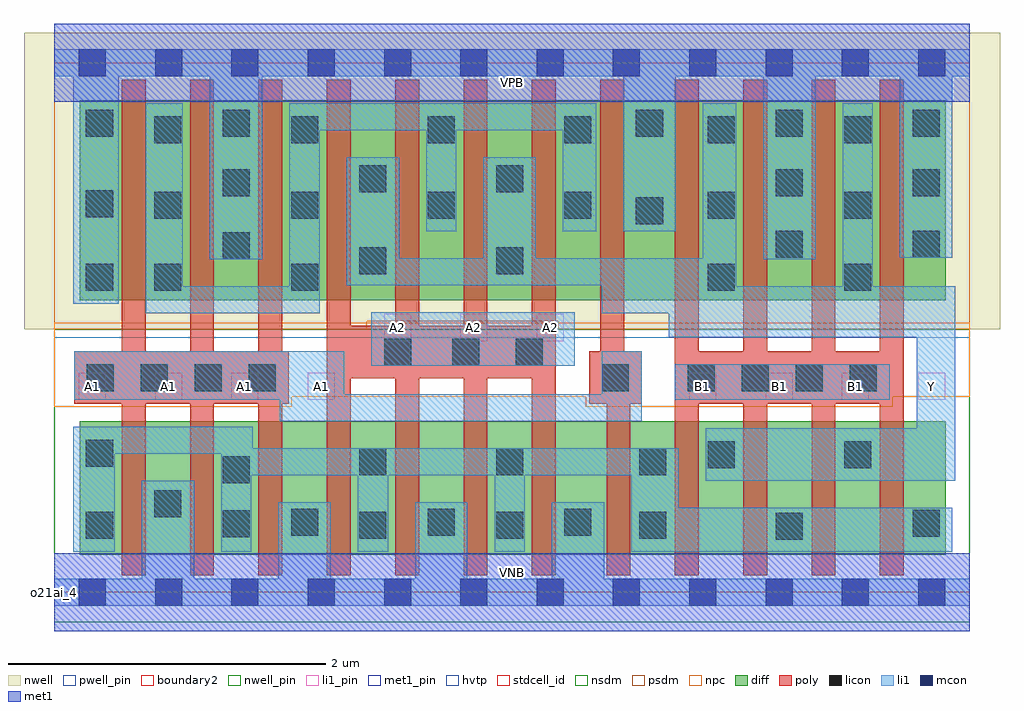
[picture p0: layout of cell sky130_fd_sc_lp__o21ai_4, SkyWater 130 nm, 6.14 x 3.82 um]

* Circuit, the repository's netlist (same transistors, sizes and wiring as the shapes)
* Copyright 2020 The SkyWater PDK Authors
*
* Licensed under the Apache License, Version 2.0 (the "License");
* you may not use this file except in compliance with the License.
* You may obtain a copy of the License at
*
*     https://www.apache.org/licenses/LICENSE-2.0
*
* Unless required by applicable law or agreed to in writing, software
* distributed under the License is distributed on an "AS IS" BASIS,
* WITHOUT WARRANTIES OR CONDITIONS OF ANY KIND, either express or implied.
* See the License for the specific language governing permissions and
* limitations under the License.
*
* SPDX-License-Identifier: Apache-2.0

.SUBCKT sky130_fd_sc_lp__o21ai_4 A1 A2 B1 VGND VNB VPB VPWR Y
*.PININFO A1:I A2:I B1:I VGND:I VNB:I VPB:I VPWR:I Y:O
MMPA0 VPWR A1 sndA1 VPB sky130_fd_pr__pfet_01v8_hvt m=4 w=1.26U l=0.15U mult=1
+ sa=0.265 sb=0.265 sd=0.28 area=0.063 perim=1.14
MMPA1 sndA1 A2 Y VPB sky130_fd_pr__pfet_01v8_hvt m=4 w=1.26U l=0.15U mult=1 sa=0.265
+ sb=0.265 sd=0.28 area=0.063 perim=1.14
MMPB0 VPWR B1 Y VPB sky130_fd_pr__pfet_01v8_hvt m=4 w=1.26U l=0.15U mult=1 sa=0.265
+ sb=0.265 sd=0.28 area=0.063 perim=1.14
MMNA0 pndA A1 VGND VNB sky130_fd_pr__nfet_01v8 m=4 w=0.84U l=0.15U mult=1 sa=0.265
+ sb=0.265 sd=0.28 area=0.063 perim=1.14
MMNA1 pndA A2 VGND VNB sky130_fd_pr__nfet_01v8 m=4 w=0.84U l=0.15U mult=1 sa=0.265
+ sb=0.265 sd=0.28 area=0.063 perim=1.14
MMNB0 Y B1 pndA VNB sky130_fd_pr__nfet_01v8 m=4 w=0.84U l=0.15U mult=1 sa=0.265
+ sb=0.265 sd=0.28 area=0.063 perim=1.14
.ENDS sky130_fd_sc_lp__o21ai_4

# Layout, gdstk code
import gdstk
lib = gdstk.Library(unit=1e-6, precision=1e-09)
def R(c, l, rs):  # rectangles x0, y0, x1, y1
    for r in rs: c.add(gdstk.rectangle(r[:2], r[2:], *l))
def A(c, l, x, y, w, h, nx, ny, dx, dy):  # array of equal rectangles
    R(c, l, [(x+i*dx, y+j*dy, x+i*dx+w, y+j*dy+h) for i in range(nx) for j in range(ny)])
def P(c, l, *ps):  # polygons
    for p in ps: c.add(gdstk.Polygon(p, *l))
nwell_pin = (64, 16)
nwell = (64, 20)
diff = (65, 20)
poly = (66, 20)
licon = (66, 44)
li1_pin = (67, 16)
li1 = (67, 20)
mcon = (67, 44)
met1_pin = (68, 16)
met1 = (68, 20)
hvtp = (78, 44)
stdcell_id = (81, 4)
nsdm = (93, 44)
psdm = (94, 20)
npc = (95, 20)
pwell_pin = (122, 16)
boundary2 = (236, 0)

sky130_fd_sc_lp__o21ai_4 = lib.new_cell('sky130_fd_sc_lp__o21ai_4')
R(sky130_fd_sc_lp__o21ai_4, nwell_pin, [(0,3.085,5.76,3.33)])
R(sky130_fd_sc_lp__o21ai_4, nwell, [(-0.19,1.655,5.95,3.52)])
R(sky130_fd_sc_lp__o21ai_4, diff, [(0.16,0.235,5.61,1.075), (0.16,1.835,5.61,3.095)])
P(sky130_fd_sc_lp__o21ai_4, poly, [(1.475,1.515),(1.435,1.515),(1.435,3.225),(1.285,3.225),(1.285,1.515),(1.005,1.515),(1.005,3.225),(0.855,3.225),(0.855,1.515),(0.575,1.515),(0.575,3.225),(0.425,3.225),(0.425,1.515),(0.125,1.515),(0.125,1.185),(0.425,1.185),(0.425,0.105),(0.575,0.105),(0.575,1.185),(0.855,1.185),(0.855,0.105),(1.005,0.105),(1.005,1.185),(1.285,1.185),(1.285,0.105),(1.435,0.105),(1.435,1.185),(1.475,1.185)],
  [(3.155,3.225),(3.005,3.225),(3.005,1.675),(2.725,1.675),(2.725,3.225),(2.575,3.225),(2.575,1.675),(2.295,1.675),(2.295,3.225),(2.145,3.225),(2.145,1.675),(1.865,1.675),(1.865,3.225),(1.715,3.225),(1.715,0.105),(1.865,0.105),(1.865,1.345),(2.145,1.345),(2.145,0.105),(2.295,0.105),(2.295,1.345),(2.575,1.345),(2.575,0.105),(2.725,0.105),(2.725,1.345),(3.005,1.345),(3.005,0.105),(3.155,0.105)],
  [(3.695,1.515),(3.585,1.515),(3.585,3.225),(3.435,3.225),(3.435,1.515),(3.365,1.515),(3.365,1.185),(3.475,1.185),(3.475,0.105),(3.625,0.105),(3.625,1.185),(3.695,1.185)],
  [(5.345,3.225),(5.195,3.225),(5.195,1.515),(4.915,1.515),(4.915,3.225),(4.765,3.225),(4.765,1.515),(4.485,1.515),(4.485,3.225),(4.335,3.225),(4.335,1.515),(4.055,1.515),(4.055,3.225),(3.905,3.225),(3.905,0.105),(4.055,0.105),(4.055,1.185),(4.335,1.185),(4.335,0.105),(4.485,0.105),(4.485,1.185),(4.765,1.185),(4.765,0.105),(4.915,0.105),(4.915,1.185),(5.195,1.185),(5.195,0.105),(5.345,0.105)])
A(sky130_fd_sc_lp__o21ai_4, licon, 1.49, 0.355, 0.17, 0.17, 3, 1, 0.86, 0)
A(sky130_fd_sc_lp__o21ai_4, licon, 0.205, 1.265, 0.17, 0.17, 4, 1, 0.34, 0)
A(sky130_fd_sc_lp__o21ai_4, licon, 3.985, 1.265, 0.17, 0.17, 4, 1, 0.34, 0)
A(sky130_fd_sc_lp__o21ai_4, licon, 0.63, 2.35, 0.17, 0.17, 4, 2, 0.86, 0.475)
R(sky130_fd_sc_lp__o21ai_4, licon, [(4.54,0.33,4.71,0.5), (0.2,0.335,0.37,0.505), (1.92,0.335,2.09,0.505), (2.78,0.335,2.95,0.505), (3.68,0.335,3.85,0.505), (1.06,0.345,1.23,0.515), (5.4,0.35,5.57,0.52), (0.63,0.47,0.8,0.64), (1.06,0.685,1.23,0.855), (1.92,0.735,2.09,0.905), (2.78,0.735,2.95,0.905), (3.68,0.735,3.85,0.905), (4.11,0.78,4.28,0.95), (4.97,0.78,5.14,0.95), (0.2,0.79,0.37,0.96), (3.445,1.265,3.615,1.435), (2.075,1.425,2.245,1.595), (2.505,1.425,2.675,1.595), (2.905,1.425,3.075,1.595), (0.2,1.895,0.37,2.065), (0.63,1.895,0.8,2.065), (1.49,1.895,1.66,2.065), (4.11,1.895,4.28,2.065), (4.97,1.895,5.14,2.065), (1.92,2,2.09,2.17), (2.78,2,2.95,2.17), (1.06,2.095,1.23,2.265), (4.54,2.105,4.71,2.275), (5.4,2.105,5.57,2.275), (3.66,2.315,3.83,2.485), (4.11,2.35,4.28,2.52), (4.97,2.35,5.14,2.52), (0.2,2.36,0.37,2.53), (1.06,2.49,1.23,2.66), (4.54,2.49,4.71,2.66), (5.4,2.49,5.57,2.66), (1.92,2.515,2.09,2.685), (2.78,2.515,2.95,2.685), (4.11,2.825,4.28,2.995), (4.97,2.825,5.14,2.995), (0.2,2.865,0.37,3.035), (1.06,2.865,1.23,3.035), (3.66,2.865,3.83,3.035), (4.54,2.865,4.71,3.035), (5.4,2.865,5.57,3.035)])
A(sky130_fd_sc_lp__o21ai_4, li1_pin, 0.155, 1.21, 0.17, 0.17, 4, 1, 0.48, 0)
A(sky130_fd_sc_lp__o21ai_4, li1_pin, 3.995, 1.21, 0.17, 0.17, 4, 1, 0.48, 0)
A(sky130_fd_sc_lp__o21ai_4, li1_pin, 2.075, 1.58, 0.17, 0.17, 3, 1, 0.48, 0)
R(sky130_fd_sc_lp__o21ai_4, li1, [(3.905,1.21,5.255,1.435), (1.995,1.425,3.275,1.76)])
P(sky130_fd_sc_lp__o21ai_4, li1, [(5.65,0.53),(3.93,0.53),(3.93,0.905),(1.25,0.905),(1.25,1.04),(0.12,1.04),(0.12,0.255),(0.38,0.255),(0.38,0.87),(1.05,0.87),(1.05,0.255),(1.24,0.255),(1.24,0.735),(1.91,0.735),(1.91,0.255),(2.1,0.255),(2.1,0.735),(2.77,0.735),(2.77,0.255),(2.96,0.255),(2.96,0.735),(3.63,0.735),(3.63,0.255),(5.65,0.255)],
  [(3.41,3.075),(1.48,3.075),(1.48,1.925),(0.81,1.925),(0.81,3.075),(0.575,3.075),(0.575,1.755),(1.67,1.755),(1.67,2.905),(2.34,2.905),(2.34,2.27),(2.53,2.27),(2.53,2.905),(3.2,2.905),(3.2,2.27),(3.41,2.27)],
  [(3.695,1.515),(3.445,1.515),(3.445,1.245),(1.825,1.245),(1.825,1.515),(0.125,1.515),(0.125,1.21),(1.42,1.21),(1.42,1.075),(3.695,1.075)],
  [(5.76,3.415),(0,3.415),(0,3.245),(0.12,3.245),(0.12,1.815),(0.405,1.815),(0.405,3.245),(0.98,3.245),(0.98,2.095),(1.31,2.095),(1.31,3.245),(3.58,3.245),(3.58,2.27),(3.91,2.27),(3.91,3.245),(4.46,3.245),(4.46,2.095),(4.79,2.095),(4.79,3.245),(5.32,3.245),(5.32,2.105),(5.65,2.105),(5.65,3.245),(5.76,3.245)],
  [(5.76,0.085),(3.46,0.085),(3.46,0.565),(3.13,0.565),(3.13,0.085),(2.6,0.085),(2.6,0.565),(2.27,0.565),(2.27,0.085),(1.74,0.085),(1.74,0.565),(1.41,0.565),(1.41,0.085),(0.88,0.085),(0.88,0.7),(0.55,0.7),(0.55,0.085),(0,0.085),(0,-0.085),(5.76,-0.085)],
  [(5.67,1.925),(5.15,1.925),(5.15,3.075),(4.96,3.075),(4.96,1.925),(4.29,1.925),(4.29,3.075),(4.08,3.075),(4.08,2.1),(3.03,2.1),(3.03,2.735),(2.7,2.735),(2.7,2.1),(2.17,2.1),(2.17,2.735),(1.84,2.735),(1.84,1.93),(3.445,1.93),(3.445,1.755),(3.865,1.755),(3.865,1.605),(5.425,1.605),(5.425,1.03),(4.1,1.03),(4.1,0.7),(5.67,0.7)])
A(sky130_fd_sc_lp__o21ai_4, mcon, 0.155, -0.085, 0.17, 0.17, 12, 2, 0.48, 3.33)
R(sky130_fd_sc_lp__o21ai_4, met1_pin, [(0,0,5.76,0.245), (0,3.085,5.76,3.33)])
R(sky130_fd_sc_lp__o21ai_4, met1, [(0,-0.245,5.76,0.245), (0,3.085,5.76,3.575)])
R(sky130_fd_sc_lp__o21ai_4, hvtp, [(0,1.6,5.76,3.33)])
R(sky130_fd_sc_lp__o21ai_4, stdcell_id, [(0,0,5.76,3.33)])
R(sky130_fd_sc_lp__o21ai_4, nsdm, [(0,-0.19,5.76,1.655)])
P(sky130_fd_sc_lp__o21ai_4, psdm, [(5.76,3.52),(0,3.52),(0,1.655),(1.965,1.655),(1.965,1.705),(3.17,1.705),(3.17,1.655),(5.76,1.655)])
P(sky130_fd_sc_lp__o21ai_4, npc, [(5.76,1.695),(0,1.695),(0,1.165),(1.495,1.165),(1.495,1.23),(3.345,1.23),(3.345,1.165),(5.275,1.165),(5.275,1.23),(5.76,1.23)])
R(sky130_fd_sc_lp__o21ai_4, pwell_pin, [(0,0,5.76,0.245)])
R(sky130_fd_sc_lp__o21ai_4, boundary2, [(0,0,5.76,3.33)])
sky130_fd_sc_lp__o21ai_4.add(gdstk.Label('VNB', (2.88,0.123), layer=64, texttype=59))
sky130_fd_sc_lp__o21ai_4.add(gdstk.Label('VPB', (2.88,3.208), layer=64, texttype=5))
sky130_fd_sc_lp__o21ai_4.add(gdstk.Label('o21ai_4', (0,0), layer=83, texttype=44))
sky130_fd_sc_lp__o21ai_4.add(gdstk.Label('VPWR', (2.88,3.208), layer=68, texttype=5))
sky130_fd_sc_lp__o21ai_4.add(gdstk.Label('VGND', (2.88,0.123), layer=68, texttype=5))
sky130_fd_sc_lp__o21ai_4.add(gdstk.Label('A1', (0.24,1.295), layer=67, texttype=5))
sky130_fd_sc_lp__o21ai_4.add(gdstk.Label('A1', (0.72,1.295), layer=67, texttype=5))
sky130_fd_sc_lp__o21ai_4.add(gdstk.Label('A1', (1.2,1.295), layer=67, texttype=5))
sky130_fd_sc_lp__o21ai_4.add(gdstk.Label('A1', (1.68,1.295), layer=67, texttype=5))
sky130_fd_sc_lp__o21ai_4.add(gdstk.Label('A2', (2.16,1.665), layer=67, texttype=5))
sky130_fd_sc_lp__o21ai_4.add(gdstk.Label('A2', (2.64,1.665), layer=67, texttype=5))
sky130_fd_sc_lp__o21ai_4.add(gdstk.Label('A2', (3.12,1.665), layer=67, texttype=5))
sky130_fd_sc_lp__o21ai_4.add(gdstk.Label('B1', (4.08,1.295), layer=67, texttype=5))
sky130_fd_sc_lp__o21ai_4.add(gdstk.Label('B1', (4.56,1.295), layer=67, texttype=5))
sky130_fd_sc_lp__o21ai_4.add(gdstk.Label('B1', (5.04,1.295), layer=67, texttype=5))
sky130_fd_sc_lp__o21ai_4.add(gdstk.Label('Y', (5.52,1.295), layer=67, texttype=5))

lib.write_gds('sky130_fd_sc_lp__o21ai_4.gds')
